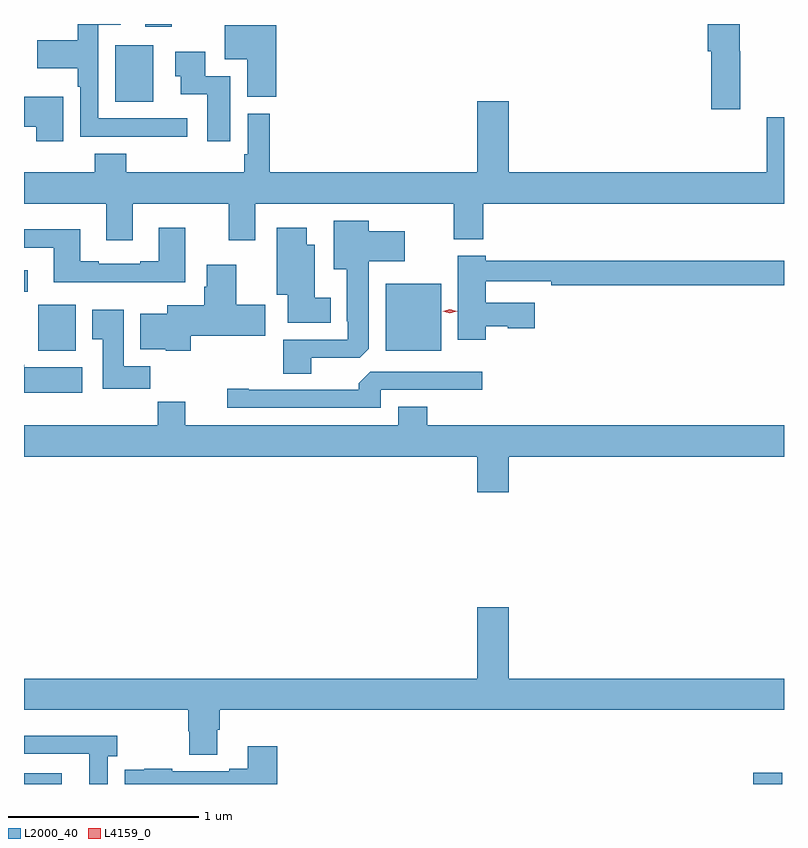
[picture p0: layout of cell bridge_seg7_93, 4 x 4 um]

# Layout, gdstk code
import gdstk
lib = gdstk.Library(unit=1e-6, precision=1e-09)
def R(c, l, rs):  # rectangles x0, y0, x1, y1
    for r in rs: c.add(gdstk.rectangle(r[:2], r[2:], *l))
def P(c, l, *ps):  # polygons
    for p in ps: c.add(gdstk.Polygon(p, *l))
L2000_40 = (2000, 40)
L4159_0 = (4159, 0)

bridge_seg7_93 = lib.new_cell('bridge_seg7_93')
R(bridge_seg7_93, L2000_40, [(1049.734,1017.541,1049.932,1017.597), (1053.572,1017.541,1053.726,1017.601), (1049.81,1019.822,1050.007,1020.064), (1051.637,1019.822,1051.93,1020.175), (1049.734,1020.131,1049.755,1020.244), (1050.215,1021.133,1050.415,1021.429), (1050.371,1021.527,1050.511,1021.541)])
P(bridge_seg7_93, L2000_40, [(1053.504,1021.398),(1053.502,1021.398),(1053.502,1021.541),(1053.332,1021.541),(1053.332,1021.398),(1053.35,1021.398),(1053.35,1021.092),(1053.504,1021.092)],
  [(1050.592,1021.044),(1050.126,1021.044),(1050.126,1021.536),(1050.244,1021.536),(1050.244,1021.541),(1050.018,1021.541),(1050.018,1021.455),(1049.803,1021.455),(1049.803,1021.307),(1050.018,1021.307),(1050.018,1021.211),(1050.03,1021.211),(1050.03,1020.948),(1050.355,1020.948),(1050.355,1020.947),(1050.592,1020.947)],
  [(1051.061,1021.534),(1050.791,1021.534),(1050.791,1021.355),(1050.908,1021.355),(1050.908,1021.158),(1051.061,1021.158)],
  [(1050.82,1021.266),(1050.688,1021.266),(1050.688,1021.396),(1050.53,1021.396),(1050.53,1021.265),(1050.56,1021.265),(1050.56,1021.17),(1050.698,1021.17),(1050.698,1020.924),(1050.82,1020.924)],
  [(1049.941,1021.159),(1049.734,1021.159),(1049.734,1021.001),(1049.798,1021.001),(1049.798,1020.924),(1049.941,1020.924)],
  [(1050.307,1020.596),(1050.812,1020.596),(1050.812,1020.402),(1050.952,1020.402),(1050.952,1020.596),(1051.997,1020.596),(1051.997,1020.407),(1052.15,1020.407),(1052.15,1020.596),(1053.734,1020.596),(1053.734,1021.051),(1053.644,1021.051),(1053.644,1020.76),(1052.284,1020.76),(1052.284,1021.135),(1052.12,1021.135),(1052.12,1020.76),(1051.028,1020.76),(1051.028,1021.069),(1050.912,1021.069),(1050.912,1020.856),(1050.892,1020.856),(1050.892,1020.76),(1050.272,1020.76),(1050.272,1020.859),(1050.107,1020.859),(1050.107,1020.76),(1049.734,1020.76),(1049.734,1020.596),(1050.167,1020.596),(1050.167,1020.402),(1050.307,1020.402)],
  [(1051.246,1019.784),(1051.5,1019.784),(1051.549,1019.833),(1051.549,1020.293),(1051.738,1020.293),(1051.738,1020.451),(1051.549,1020.451),(1051.549,1020.505),(1051.364,1020.505),(1051.364,1020.251),(1051.433,1020.251),(1051.433,1019.977),(1051.437,1019.977),(1051.437,1019.88),(1051.099,1019.88),(1051.099,1019.701),(1051.246,1019.701)],
  [(1050.583,1020.469),(1050.443,1020.469),(1050.443,1020.292),(1050.347,1020.292),(1050.347,1020.279),(1050.127,1020.279),(1050.127,1020.292),(1050.031,1020.292),(1050.031,1020.46),(1049.734,1020.46),(1049.734,1020.363),(1049.891,1020.363),(1049.891,1020.182),(1050.583,1020.182)],
  [(1051.348,1020.1),(1051.264,1020.1),(1051.264,1020.379),(1051.222,1020.379),(1051.222,1020.469),(1051.064,1020.469),(1051.064,1020.116),(1051.121,1020.116),(1051.121,1019.969),(1051.348,1019.969)],
  [(1052.165,1019.951),(1052.279,1019.951),(1052.279,1019.939),(1052.422,1019.939),(1052.422,1020.073),(1052.165,1020.073),(1052.165,1020.186),(1052.509,1020.186),(1052.509,1020.166),(1053.734,1020.166),(1053.734,1020.295),(1052.165,1020.295),(1052.165,1020.322),(1052.018,1020.322),(1052.018,1019.88),(1052.165,1019.88)],
  [(1050.612,1019.9),(1051.003,1019.9),(1051.003,1020.063),(1050.85,1020.063),(1050.85,1020.274),(1050.695,1020.274),(1050.695,1020.159),(1050.683,1020.159),(1050.683,1020.061),(1050.488,1020.061),(1050.488,1020.016),(1050.347,1020.016),(1050.347,1019.828),(1050.48,1019.828),(1050.48,1019.822),(1050.612,1019.822)],
  [(1050.398,1019.74),(1050.259,1019.74),(1050.259,1020.037),(1050.092,1020.037),(1050.092,1019.881),(1050.149,1019.881),(1050.149,1019.622),(1050.398,1019.622)],
  [(1050.04,1019.734),(1049.736,1019.734),(1049.736,1019.748),(1049.734,1019.748),(1049.734,1019.6),(1050.04,1019.6)],
  [(1051.611,1019.616),(1052.146,1019.616),(1052.146,1019.712),(1051.557,1019.712),(1051.496,1019.65),(1051.496,1019.616),(1050.916,1019.616),(1050.916,1019.621),(1050.804,1019.621),(1050.804,1019.52),(1051.611,1019.52)],
  [(1052.284,1019.264),(1053.734,1019.264),(1053.734,1019.428),(1051.856,1019.428),(1051.856,1019.527),(1051.703,1019.527),(1051.703,1019.428),(1050.583,1019.428),(1050.583,1019.552),(1050.439,1019.552),(1050.439,1019.428),(1049.734,1019.428),(1049.734,1019.264),(1052.12,1019.264),(1052.12,1019.076),(1052.284,1019.076)],
  [(1050.751,1017.826),(1050.764,1017.826),(1050.764,1017.932),(1053.734,1017.932),(1053.734,1018.096),(1052.284,1018.096),(1052.284,1018.471),(1052.12,1018.471),(1052.12,1018.096),(1049.734,1018.096),(1049.734,1017.932),(1050.599,1017.932),(1050.599,1017.819),(1050.604,1017.819),(1050.604,1017.694),(1050.751,1017.694)],
  [(1050.174,1017.686),(1050.226,1017.686),(1050.226,1017.796),(1049.734,1017.796),(1049.734,1017.699),(1050.077,1017.699),(1050.077,1017.541),(1050.174,1017.541)],
  [(1051.067,1017.739),(1050.911,1017.739),(1050.911,1017.622),(1050.815,1017.622),(1050.815,1017.609),(1050.515,1017.609),(1050.515,1017.622),(1050.367,1017.622),(1050.367,1017.615),(1050.265,1017.615),(1050.265,1017.541),(1051.067,1017.541)])
P(bridge_seg7_93, L4159_0, [(1051.975,1020.019),(1051.937,1020.029),(1051.937,1020.03),(1051.937,1020.03),(1051.976,1020.039),(1052.014,1020.029),(1052.014,1020.029),(1052.014,1020.029)])

lib.write_gds('bridge_seg7_93.gds')
